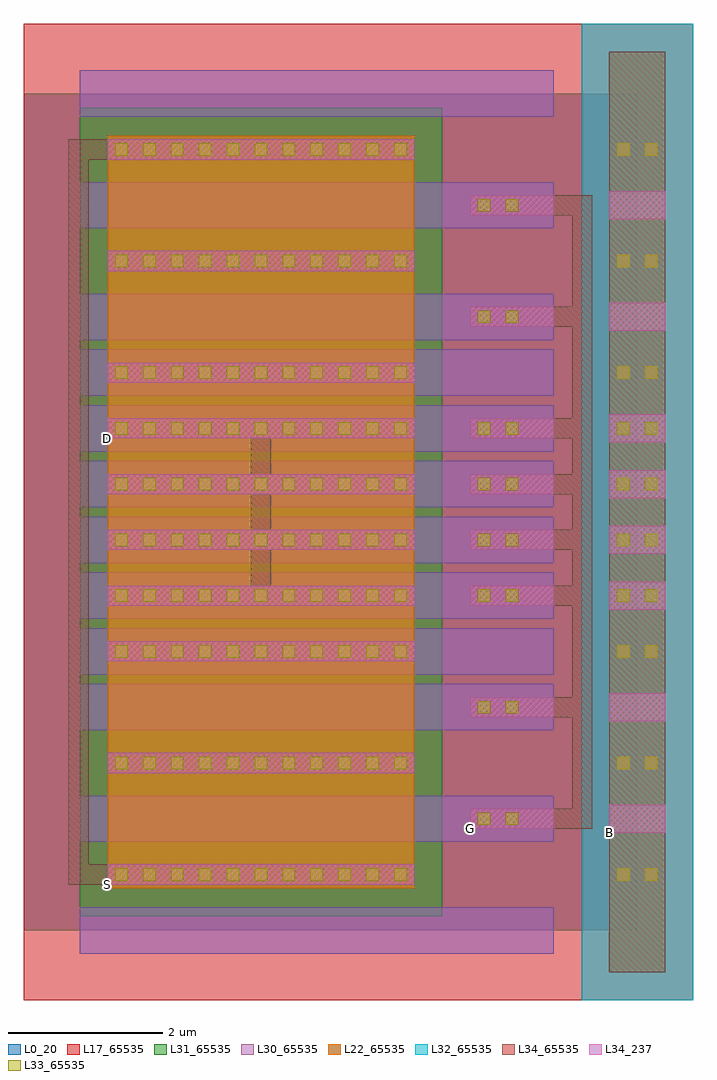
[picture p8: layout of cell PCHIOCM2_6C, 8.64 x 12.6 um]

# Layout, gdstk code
import gdstk
lib = gdstk.Library(unit=1e-6, precision=1e-09)
def R(c, l, rs):  # rectangles x0, y0, x1, y1
    for r in rs: c.add(gdstk.rectangle(r[:2], r[2:], *l))
def A(c, l, x, y, w, h, nx, ny, dx, dy):  # array of equal rectangles
    R(c, l, [(x+i*dx, y+j*dy, x+i*dx+w, y+j*dy+h) for i in range(nx) for j in range(ny)])
L0_20 = (0, 20)
L17_65535 = (17, 65535)
L22_65535 = (22, 65535)
L30_65535 = (30, 65535)
L31_65535 = (31, 65535)
L32_65535 = (32, 65535)
L33_65535 = (33, 65535)
L34_237 = (34, 237)
L34_65535 = (34, 65535)

pchio_6c = lib.new_cell('PCHIO_6C')
R(pchio_6c, L0_20, [(0,0,7.92,2.88)])
R(pchio_6c, L17_65535, [(0,-0.9,8.64,3.78)])
A(pchio_6c, L22_65535, 7.56, -0.54, 0.72, 0.36, 1, 11, 0, 0.36)
A(pchio_6c, L22_65535, 1.08, 0.54, 3.96, 0.36, 1, 5, 0, 0.36)
A(pchio_6c, L30_65535, 0.72, -0.3, 6.12, 0.6, 1, 3, 0, 1.44)
R(pchio_6c, L31_65535, [(0.72,0.18,5.4,2.7)])
R(pchio_6c, L32_65535, [(7.2,-0.9,8.64,3.78)])
A(pchio_6c, L33_65535, 1.18, 0.64, 0.16, 0.16, 11, 2, 0.36, 1.44)
R(pchio_6c, L33_65535, [(7.66,0.64,7.82,0.8), (8.02,0.64,8.18,0.8), (5.86,1.36,6.02,1.52), (6.22,1.36,6.38,1.52), (7.66,2.08,7.82,2.24), (8.02,2.08,8.18,2.24)])
R(pchio_6c, L34_237, [(1.08,0.59,5.04,0.85), (7.56,1.26,8.28,1.62), (5.76,1.31,6.84,1.57), (1.08,2.03,5.04,2.29)])
A(pchio_6c, L34_65535, 7.56, -0.54, 0.72, 0.36, 1, 11, 0, 0.36)
R(pchio_6c, L34_65535, [(1.08,0.59,5.04,0.85), (5.76,1.31,6.84,1.57), (1.08,2.03,5.04,2.29)])
pchio_6c.add(gdstk.Label('G', (5.76,1.31), layer=34, texttype=237))
pchio_6c.add(gdstk.Label('S', (1.08,0.59), layer=34, texttype=237))
pchio_6c.add(gdstk.Label('B', (7.56,1.26), layer=34, texttype=237))
pchio_6c.add(gdstk.Label('D', (1.08,2.03), layer=34, texttype=237))

pchiocm_6c = lib.new_cell('PCHIOCM_6C')
R(pchiocm_6c, L0_20, [(0,0,7.92,7.2)])
R(pchiocm_6c, L34_237, [(1.08,0.59,5.04,0.85), (5.76,1.31,6.84,1.57), (1.08,6.35,5.04,6.61)])
A(pchiocm_6c, L34_65535, 6.3, 1.31, 0.78, 0.26, 1, 4, 0, 1.44)
R(pchiocm_6c, L34_65535, [(7.08,1.31,7.34,5.89)])
pchiocm_6c.add(gdstk.Reference(pchio_6c, (0,0)))
pchiocm_6c.add(gdstk.Reference(pchio_6c, (0,1.44)))
pchiocm_6c.add(gdstk.Reference(pchio_6c, (0,2.88)))
pchiocm_6c.add(gdstk.Reference(pchio_6c, (0,4.32)))
pchiocm_6c.add(gdstk.Label('G', (5.76,1.31), layer=58, texttype=65535))
pchiocm_6c.add(gdstk.Label('D', (1.08,6.35), layer=34, texttype=237))
pchiocm_6c.add(gdstk.Label('G', (5.76,1.31), layer=34, texttype=237))
pchiocm_6c.add(gdstk.Label('S', (1.08,0.59), layer=34, texttype=237))

pchiocm2_6c = lib.new_cell('PCHIOCM2_6C')
R(pchiocm2_6c, L0_20, [(0,0,7.92,10.8)])
R(pchiocm2_6c, L34_237, [(1.08,0.59,5.04,0.85), (7.56,1.26,8.28,1.62), (5.76,1.31,6.84,1.57), (1.08,6.35,5.04,6.61)])
R(pchiocm2_6c, L34_65535, [(0.58,0.59,3.06,0.85), (0.58,0.59,0.84,10.21), (6.3,1.31,7.08,1.57), (7.08,1.31,7.34,5.17), (2.93,4.19,3.19,6.61), (6.3,4.91,7.08,5.17), (0.58,9.95,3.06,10.21)])
pchiocm2_6c.add(gdstk.Reference(pchiocm_6c, (0,0)))
pchiocm2_6c.add(gdstk.Reference(pchiocm_6c, (0,3.6)))
pchiocm2_6c.add(gdstk.Label('S', (1.08,0.59), layer=58, texttype=65535))
pchiocm2_6c.add(gdstk.Label('G', (5.76,1.31), layer=58, texttype=65535))
pchiocm2_6c.add(gdstk.Label('D', (1.08,6.35), layer=58, texttype=65535))
pchiocm2_6c.add(gdstk.Label('B', (7.56,1.26), layer=34, texttype=237))
pchiocm2_6c.add(gdstk.Label('D', (1.08,6.35), layer=34, texttype=237))
pchiocm2_6c.add(gdstk.Label('G', (5.76,1.31), layer=34, texttype=237))
pchiocm2_6c.add(gdstk.Label('S', (1.08,0.59), layer=34, texttype=237))

lib.write_gds('PCHIOCM2_6C.gds')
